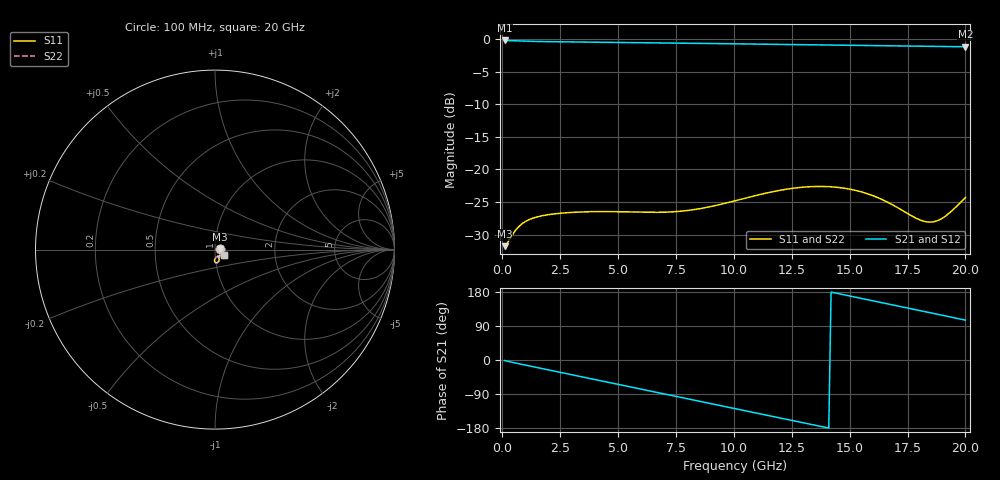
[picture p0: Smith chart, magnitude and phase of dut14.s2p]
! Touchstone file exported from HFSS 2026.1.0
!  File:  C:/ffzhzh/LocalFiles/Ansys_Project_Files/temp_train_TSV_RDL_14_1782961724_45748.aedt
!  Generated:  11:17:22 AM Jul  2, 2026
!  Design:  TSV_RDL
!  Project:  temp_train_TSV_RDL_14_1782961724_45748
! Variables:
!  h_bsmrdl = 2.26um
!  h_ox = 20um
!  h_rdl = 5um
!  h_sub = 88.3um
!  h_tmrdl = 3.19um
!  h_tsv = 88.3um
!  h_via = 3um
!  l_bsmrdl = 880.25um
!  l_sub = 3906.24um
!  l_tmrdl = 182.96um
!  m_sub = 200um
!  pitch = 25.57um
!  r_tsv = 7.76um
!  s_tmrdl = 10um
!  w_bsmrdl = 20um
!  w_sub = 500um
!  w_tmrdl = 24.55um
!  x_tsv_center1 = 195.235um
!  x_tsv_center2 = 1095.485um
!  x_tsv_center3 = 1302.995um
!  x_tsv_center4 = 2203.245um
!  x_tsv_center5 = 2410.755um
!  x_tsv_center6 = 3311.005um
# GHz S MA R 50.000000
! Terminal data exported
! Port[1] = TM_RDL1_1_T1
! Port[2] = TM_RDL5_1_T1
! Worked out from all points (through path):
!   200 points, 100 MHz to 20 GHz, reference 50 ohm
!   highest |S21| = -0.23 dB at 100 MHz (marker M1); lowest = -1.2 dB at 20 GHz (marker M2)
!   group delay of S21, straight-line fit = 35.2 ps
!   lowest |S11| = -31.8 dB at 100 MHz (marker M3), VSWR 1.05, Z = 52.6 + j0.255 ohm
!   |S11| at or under -10 dB: start of sweep to end of sweep
!   |S22| runs from -31.8 to -22.6 dB; largest |S21 - S12| = 3.1e-14
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0.1  0.02583 5.4  0.9743 -1.5  0.9743 -1.5  0.02584 5.4
! Gamma 0 0 0 0
! Port Impedance 50 0 50 0
0.7  0.03628 7.2  0.9645 -9.6  0.9645 -9.6  0.03632 7.3
1.2  0.04157 -3.2  0.9591 -16.0  0.9591 -16.0  0.0416 -3.2
2.3  0.04578 -23.3  0.9524 -30.0  0.9524 -30.0  0.04582 -23.3
3.5  0.04732 -40.3  0.9475 -45.3  0.9475 -45.3  0.04741 -40.3
4.4  0.04757 -50.2  0.9439 -56.7  0.9439 -56.7  0.0477 -50.2
5.2  0.04736 -56.9  0.9406 -66.9  0.9406 -66.9  0.04753 -57.0
6  0.04702 -61.6  0.9371 -77.1  0.9371 -77.1  0.04723 -61.7
6.8  0.04697 -64.3  0.9336 -87.2  0.9336 -87.2  0.04721 -64.5
7.6  0.0477 -65.4  0.9299 -97.4  0.9299 -97.4  0.04795 -65.6
8.4  0.04962 -65.5  0.9261 -107.5  0.9261 -107.5  0.04986 -65.7
10.1  0.05785 -66.6  0.9178 -129.0  0.9178 -129.0  0.05802 -66.9
11.8  0.06822 -72.2  0.9094 -150.5  0.9094 -150.5  0.0683 -72.4
13.4  0.07394 -80.7  0.9016 -170.7  0.9016 -170.7  0.07397 -80.8
14.2  0.07366 -85.2  0.8979 179.2  0.8979 179.2  0.07368 -85.3
15  0.0707 -89.3  0.8943 169.0  0.8943 169.0  0.07073 -89.4
15.8  0.06492 -92.2  0.8908 158.9  0.8908 158.9  0.06497 -92.1
16.7  0.05545 -92.1  0.8869 147.5  0.8869 147.5  0.05557 -92.0
17.9  0.04207 -79.1  0.8818 132.2  0.8818 132.2  0.04239 -78.8
18.5  0.03952 -63.7  0.8791 124.5  0.8791 124.5  0.03995 -63.6
19.1  0.04341 -46.6  0.8762 116.8  0.8762 116.8  0.04391 -46.7
20  0.06094 -30.8  0.8715 105.2  0.8715 105.2  0.06141 -31.2
